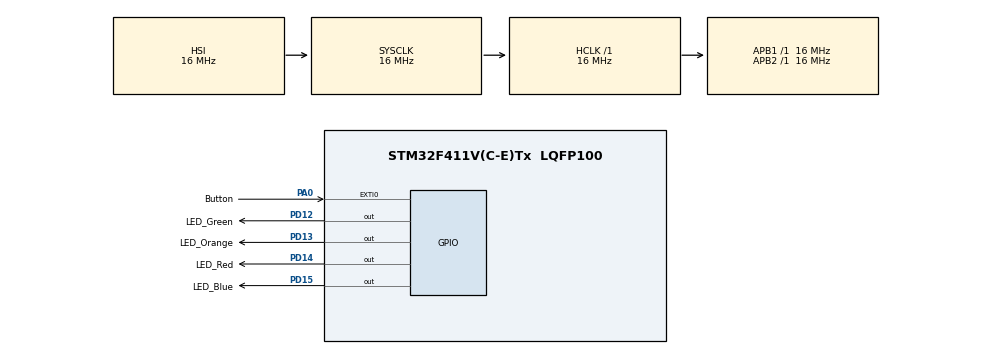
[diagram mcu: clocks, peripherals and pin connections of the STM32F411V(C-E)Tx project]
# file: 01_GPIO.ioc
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Mcu.Family=STM32F4
Mcu.Name=STM32F411V(C-E)Tx
Mcu.Package=LQFP100
NVIC.EXTI0_IRQn=true\:0\:0\:false\:false\:true\:true\:true
NVIC.PriorityGroup=NVIC_PRIORITYGROUP_4
PA0-WKUP.GPIO_Label=Button
PA0-WKUP.GPIO_ModeDefaultEXTI=GPIO_MODE_IT_RISING
PA0-WKUP.Signal=GPXTI0
PD12.GPIO_Label=LED_Green
PD12.Signal=GPIO_Output
PD13.GPIO_Label=LED_Orange
PD13.Signal=GPIO_Output
PD14.GPIO_Label=LED_Red
PD14.Signal=GPIO_Output
PD15.GPIO_Label=LED_Blue
PD15.Signal=GPIO_Output
ProjectManager.HeapSize=0x200
ProjectManager.StackSize=0x400
ProjectManager.TargetToolchain=SW4STM32
RCC.AHBFreq_Value=16000000
RCC.APB1Freq_Value=16000000
RCC.APB2Freq_Value=16000000
RCC.CortexFreq_Value=16000000
RCC.HSE_VALUE=25000000
RCC.HSI_VALUE=16000000
RCC.LSE_VALUE=32768
RCC.SYSCLKFreq_VALUE=16000000
RCC.VCOOutputFreq_Value=192000000
board=custom

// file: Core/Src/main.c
/* USER CODE BEGIN Header */
/**
  ******************************************************************************
  * @file           : main.c
  * @brief          : Main program body
  ******************************************************************************
  * @attention
  *
  * <h2><center>&copy; Copyright (c) 2021 STMicroelectronics.
  * All rights reserved.</center></h2>
  *
  * This software component is licensed by ST under BSD 3-Clause license,
  * the "License"; You may not use this file except in compliance with the
  * License. You may obtain a copy of the License at:
  *                        opensource.org/licenses/BSD-3-Clause
  *
  ******************************************************************************
  */
/* USER CODE END Header */
#include "main.h"

/* USER CODE BEGIN PV */
int ledNo = 0;
int isEnable = 1;
/* USER CODE END PV */

void SystemClock_Config(void);
static void MX_GPIO_Init(void);
/* USER CODE BEGIN PFP */

void HAL_GPIO_EXTI_Callback(uint16_t GPIO_Pin){
	if (GPIO_Pin == Button_Pin){
		if(isEnable == 1){
			isEnable = 0;
			switch (ledNo) {
				case 0:
					HAL_GPIO_TogglePin(LED_Blue_GPIO_Port, LED_Blue_Pin);
					break;
				case 1:
					HAL_GPIO_TogglePin(LED_Green_GPIO_Port, LED_Green_Pin);
					break;
				case 2:
					HAL_GPIO_TogglePin(LED_Orange_GPIO_Port, LED_Orange_Pin);
					break;
				case 3:
					HAL_GPIO_TogglePin(LED_Red_GPIO_Port, LED_Red_Pin);
					break;
				default:
					break;
			}//switch
			ledNo = (ledNo+1) % 4;
		}//if isEnable

	}//if Button
}
/* USER CODE END PFP */

int main(void)
{

  /* MCU Configuration--------------------------------------------------------*/

  /* Reset of all peripherals, Initializes the Flash interface and the Systick. */
  HAL_Init();

  /* Configure the system clock */
  SystemClock_Config();

  /* Initialize all configured peripherals */
  MX_GPIO_Init();

  /* Infinite loop */
  /* USER CODE BEGIN WHILE */
  while (1)
  {
	  HAL_Delay(200);
	  isEnable = 1;
    /* USER CODE END WHILE */

  }
}

void SystemClock_Config(void)
{
  RCC_OscInitTypeDef RCC_OscInitStruct = {0};
  RCC_ClkInitTypeDef RCC_ClkInitStruct = {0};

  /** Configure the main internal regulator output voltage
  */
  __HAL_RCC_PWR_CLK_ENABLE();
  __HAL_PWR_VOLTAGESCALING_CONFIG(PWR_REGULATOR_VOLTAGE_SCALE1);
  /** Initializes the RCC Oscillators according to the specified parameters
  * in the RCC_OscInitTypeDef structure.
  */
  RCC_OscInitStruct.OscillatorType = RCC_OSCILLATORTYPE_HSI;
  RCC_OscInitStruct.HSIState = RCC_HSI_ON;
  RCC_OscInitStruct.HSICalibrationValue = RCC_HSICALIBRATION_DEFAULT;
  RCC_OscInitStruct.PLL.PLLState = RCC_PLL_NONE;
  if (HAL_RCC_OscConfig(&RCC_OscInitStruct) != HAL_OK)
  {
    Error_Handler();
  }
  /** Initializes the CPU, AHB and APB buses clocks
  */
  RCC_ClkInitStruct.ClockType = RCC_CLOCKTYPE_HCLK|RCC_CLOCKTYPE_SYSCLK
                              |RCC_CLOCKTYPE_PCLK1|RCC_CLOCKTYPE_PCLK2;
  RCC_ClkInitStruct.SYSCLKSource = RCC_SYSCLKSOURCE_HSI;
  RCC_ClkInitStruct.AHBCLKDivider = RCC_SYSCLK_DIV1;
  RCC_ClkInitStruct.APB1CLKDivider = RCC_HCLK_DIV1;
  RCC_ClkInitStruct.APB2CLKDivider = RCC_HCLK_DIV1;

  if (HAL_RCC_ClockConfig(&RCC_ClkInitStruct, FLASH_LATENCY_0) != HAL_OK)
  {
    Error_Handler();
  }
}

static void MX_GPIO_Init(void)
{
  GPIO_InitTypeDef GPIO_InitStruct = {0};

  /* GPIO Ports Clock Enable */
  __HAL_RCC_GPIOA_CLK_ENABLE();
  __HAL_RCC_GPIOD_CLK_ENABLE();

  /*Configure GPIO pin Output Level */
  HAL_GPIO_WritePin(GPIOD, LED_Green_Pin|LED_Orange_Pin|LED_Red_Pin|LED_Blue_Pin, GPIO_PIN_RESET);

  /*Configure GPIO pin : Button_Pin */
  GPIO_InitStruct.Pin = Button_Pin;
  GPIO_InitStruct.Mode = GPIO_MODE_IT_RISING;
  GPIO_InitStruct.Pull = GPIO_NOPULL;
  HAL_GPIO_Init(Button_GPIO_Port, &GPIO_InitStruct);

  /*Configure GPIO pins : LED_Green_Pin LED_Orange_Pin LED_Red_Pin LED_Blue_Pin */
  GPIO_InitStruct.Pin = LED_Green_Pin|LED_Orange_Pin|LED_Red_Pin|LED_Blue_Pin;
  GPIO_InitStruct.Mode = GPIO_MODE_OUTPUT_PP;
  GPIO_InitStruct.Pull = GPIO_NOPULL;
  GPIO_InitStruct.Speed = GPIO_SPEED_FREQ_LOW;
  HAL_GPIO_Init(GPIOD, &GPIO_InitStruct);

  /* EXTI interrupt init*/
  HAL_NVIC_SetPriority(EXTI0_IRQn, 0, 0);
  HAL_NVIC_EnableIRQ(EXTI0_IRQn);

}

void Error_Handler(void)
{
  __disable_irq();
  while (1)
  {
  }
}

/************************ (C) COPYRIGHT STMicroelectronics *****END OF FILE****/
